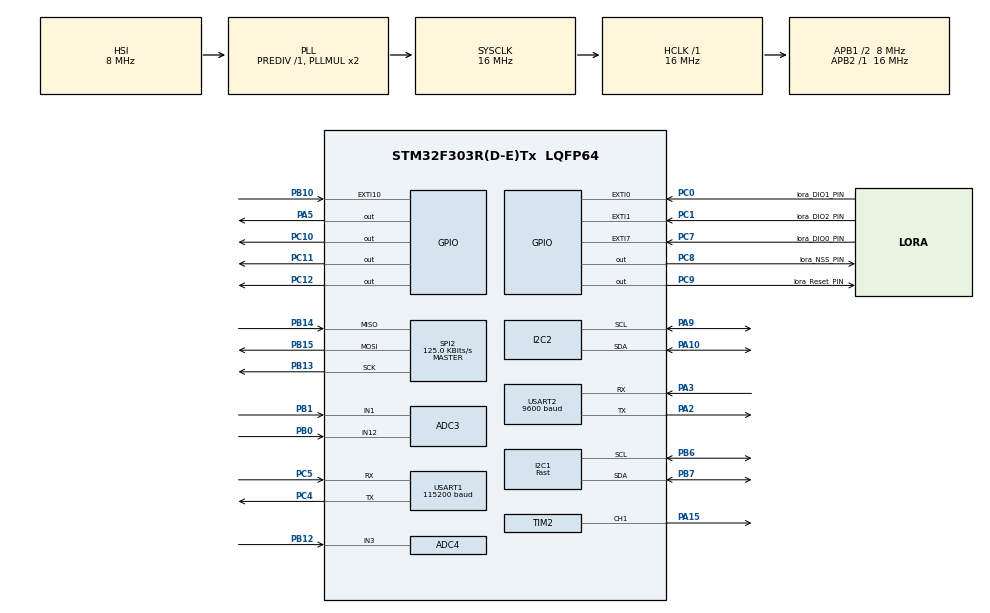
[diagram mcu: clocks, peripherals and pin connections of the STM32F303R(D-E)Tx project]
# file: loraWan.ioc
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ADC3.Channel-0\#ChannelRegularConversion=ADC_CHANNEL_12
ADC3.Channel-1\#ChannelRegularConversion=ADC_CHANNEL_1
ADC3.NbrOfConversion=2
ADC3.NbrOfConversionFlag=1
ADC3.Offset-0\#ChannelRegularConversion=0
ADC3.Offset-1\#ChannelRegularConversion=0
ADC3.OffsetNumber-0\#ChannelRegularConversion=ADC_OFFSET_NONE
ADC3.OffsetNumber-1\#ChannelRegularConversion=ADC_OFFSET_NONE
ADC3.Rank-0\#ChannelRegularConversion=1
ADC3.Rank-1\#ChannelRegularConversion=2
ADC3.SamplingTime-0\#ChannelRegularConversion=ADC_SAMPLETIME_61CYCLES_5
ADC3.SamplingTime-1\#ChannelRegularConversion=ADC_SAMPLETIME_61CYCLES_5
ADC3.SamplingTimeOPAMP-1\#ChannelRegularConversion=ADC_SAMPLETIME_7CYCLES_5
ADC3.master=1
ADC4.Channel-1\#ChannelRegularConversion=ADC_CHANNEL_3
ADC4.NbrOfConversionFlag=1
ADC4.Offset-1\#ChannelRegularConversion=0
ADC4.OffsetNumber-1\#ChannelRegularConversion=ADC_OFFSET_NONE
ADC4.Rank-1\#ChannelRegularConversion=1
ADC4.SamplingTime-1\#ChannelRegularConversion=ADC_SAMPLETIME_601CYCLES_5
ADC4.SamplingTimeOPAMP-1\#ChannelRegularConversion=ADC_SAMPLETIME_7CYCLES_5
Dma.ADC3.0.Direction=DMA_PERIPH_TO_MEMORY
Dma.ADC3.0.Instance=DMA2_Channel5
Dma.ADC3.0.MemDataAlignment=DMA_MDATAALIGN_HALFWORD
Dma.ADC3.0.MemInc=DMA_MINC_ENABLE
Dma.ADC3.0.Mode=DMA_NORMAL
Dma.ADC3.0.PeriphDataAlignment=DMA_PDATAALIGN_HALFWORD
Dma.ADC3.0.PeriphInc=DMA_PINC_DISABLE
Dma.ADC3.0.Priority=DMA_PRIORITY_LOW
Dma.Request0=ADC3
I2C1.I2C_Speed_Mode=I2C_Fast
I2C1.Timing=0x0010020A
I2C2.Timing=0x00201D2B
Mcu.Family=STM32F3
Mcu.Name=STM32F303R(D-E)Tx
Mcu.Package=LQFP64
NVIC.DMA2_Channel5_IRQn=true\:0\:0\:false\:false\:true\:false\:true\:true
NVIC.EXTI0_IRQn=true\:0\:0\:false\:false\:true\:true\:true\:true
NVIC.EXTI15_10_IRQn=true\:0\:2\:false\:false\:true\:true\:true\:true
NVIC.EXTI1_IRQn=true\:0\:0\:false\:false\:true\:true\:true\:true
NVIC.EXTI9_5_IRQn=true\:0\:0\:false\:false\:true\:true\:true\:true
NVIC.PriorityGroup=NVIC_PRIORITYGROUP_0
NVIC.TIM4_IRQn=true\:0\:0\:false\:false\:true\:true\:true\:true
NVIC.TIM7_IRQn=true\:0\:0\:false\:false\:true\:true\:true\:true
NVIC.USART1_IRQn=true\:0\:0\:false\:false\:true\:true\:true\:true
PA10.Mode=I2C
PA10.Signal=I2C2_SDA
PA13.Mode=Serial_Wire
PA13.Signal=SYS_JTMS-SWDIO
PA14.Mode=Serial_Wire
PA14.Signal=SYS_JTCK-SWCLK
PA15.Signal=S_TIM2_CH1_ETR
PA2.Mode=Asynchronous
PA2.Signal=USART2_TX
PA3.Mode=Asynchronous
PA3.Signal=USART2_RX
PA5.Signal=GPIO_Output
PA9.Mode=I2C
PA9.Signal=I2C2_SCL
PB0.Mode=IN12-Single-Ended
PB0.Signal=ADC3_IN12
PB1.Mode=IN1-Single-Ended
PB1.Signal=ADC3_IN1
PB10.GPIO_ModeDefaultEXTI=GPIO_MODE_IT_FALLING
PB10.GPIO_PuPd=GPIO_PULLUP
PB10.Signal=GPXTI10
PB12.Mode=IN3-Single-Ended
PB12.Signal=ADC4_IN3
PB13.Mode=Full_Duplex_Master
PB13.Signal=SPI2_SCK
PB14.Mode=Full_Duplex_Master
PB14.Signal=SPI2_MISO
PB15.Mode=Full_Duplex_Master
PB15.Signal=SPI2_MOSI
PB6.Mode=I2C
PB6.Signal=I2C1_SCL
PB7.Mode=I2C
PB7.Signal=I2C1_SDA
PC0.GPIO_Label=lora_DIO1_PIN
PC0.Signal=GPXTI0
PC1.GPIO_Label=lora_DIO2_PIN
PC1.Signal=GPXTI1
PC10.Signal=GPIO_Output
PC11.Signal=GPIO_Output
PC12.Signal=GPIO_Output
PC14-OSC32_IN.Mode=LSE-External-Oscillator
PC14-OSC32_IN.Signal=RCC_OSC32_IN
PC15-OSC32_OUT.Mode=LSE-External-Oscillator
PC15-OSC32_OUT.Signal=RCC_OSC32_OUT
PC4.Mode=Asynchronous
PC4.Signal=USART1_TX
PC5.Mode=Asynchronous
PC5.Signal=USART1_RX
PC7.GPIO_Label=lora_DIO0_PIN
PC7.Signal=GPXTI7
PC8.GPIO_Label=lora_NSS_PIN
PC8.Signal=GPIO_Output
PC9.GPIO_Label=lora_Reset_PIN
PC9.Signal=GPIO_Output
PF0-OSC_IN.Mode=HSE-External-Oscillator
PF0-OSC_IN.Signal=RCC_OSC_IN
PF1-OSC_OUT.Mode=HSE-External-Oscillator
PF1-OSC_OUT.Signal=RCC_OSC_OUT
ProjectManager.HeapSize=0x200
ProjectManager.StackSize=0x400
ProjectManager.TargetToolchain=STM32CubeIDE
RCC.AHBFreq_Value=16000000
RCC.APB1CLKDivider=RCC_HCLK_DIV2
RCC.APB1Freq_Value=8000000
RCC.APB1TimFreq_Value=16000000
RCC.APB2Freq_Value=16000000
RCC.APB2TimFreq_Value=16000000
RCC.CortexFreq_Value=16000000
RCC.HCLKFreq_Value=16000000
RCC.HSE_VALUE=8000000
RCC.HSI_VALUE=8000000
RCC.PLLM=8
RCC.PLLN=336
RCC.PLLP=RCC_PLLP_DIV4
RCC.PLLQ=7
RCC.RCC_PLLsource_Clock_Source_FROM_HSE=RCC_HSE_PREDIV_DIV2
RCC.SYSCLKFreq_VALUE=16000000
RCC.SYSCLKSourceVirtual=RCC_SYSCLKSOURCE_PLLCLK
RCC.USBFreq_Value=16000000
SH.S_TIM2_CH1_ETR.0=TIM2_CH1,PWM Generation1 CH1
SPI2.BaudRatePrescaler=SPI_BAUDRATEPRESCALER_64
SPI2.CalculateBaudRate=125.0 KBits/s
SPI2.DataSize=SPI_DATASIZE_8BIT
SPI2.Direction=SPI_DIRECTION_2LINES
SPI2.Mode=SPI_MODE_MASTER
SPI2.VirtualType=VM_MASTER
TIM2.Channel-PWM\ Generation1\ CH1=TIM_CHANNEL_1
TIM2.Period=1999
TIM2.Prescaler=15
TIM4.Channel-Output\ Compare1\ No\ Output=TIM_CHANNEL_1
TIM4.Period=65535-1
TIM4.Prescaler=500-1
TIM7.Period=65535-1
TIM7.Prescaler=1221-1
USART1.BaudRate=115200
USART1.Mode=MODE_RX
USART1.VirtualMode-Asynchronous=VM_ASYNC
USART2.BaudRate=9600
USART2.Mode=MODE_TX
USART2.VirtualMode-Asynchronous=VM_ASYNC
VP_TIM2_VS_ClockSourceINT.Mode=Internal
VP_TIM4_VS_no_output1.Mode=Output Compare1 No Output
VP_TIM7_VS_ClockSourceINT.Mode=Enable_Timer
board=NUCLEO-F303RE

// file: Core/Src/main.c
/* USER CODE BEGIN Header */
/**
  ******************************************************************************
  * @file           : main.c
  * @brief          : Main program body
  ******************************************************************************
  * @attention
  *
  * Copyright (c) 2024 STMicroelectronics.
  * All rights reserved.
  *
  * This software is licensed under terms that can be found in the LICENSE file
  * in the root directory of this software component.
  * If no LICENSE file comes with this software, it is provided AS-IS.
  *
  ******************************************************************************
  */
/* USER CODE END Header */
#include "main.h"

/* USER CODE BEGIN Includes */
#include <stdio.h>
#include <math.h>
#include <string.h>
#include <stdbool.h>
#include <ctype.h>
#include "../../lmic/lmic.h"
#include "../../stm32/debug.h"
#include "ssd1306.h"
#include "ssd1306_fonts.h"
#include "DHT.h"
#include "bh1750.h"
#include "UartRingbuffer.h"

/* USER CODE END Includes */

/* USER CODE BEGIN PD */
#define SSD1306_INCLUDE_FONT_7x10

#define TX_INTERVAL 15
#define CFG_VN 1
//#define TX_INTERVAL 180
//#define TX_TIMEOUT 200
/* USER CODE END PD */

ADC_HandleTypeDef hadc3;
ADC_HandleTypeDef hadc4;
DMA_HandleTypeDef hdma_adc3;

I2C_HandleTypeDef hi2c1;
I2C_HandleTypeDef hi2c2;

SPI_HandleTypeDef hspi2;

TIM_HandleTypeDef htim2;
TIM_HandleTypeDef htim4;
TIM_HandleTypeDef htim7;

UART_HandleTypeDef huart1;
UART_HandleTypeDef huart2;

/* USER CODE BEGIN PV */
static const uint8_t APPEUI[8]  = {};
static const uint8_t DEVKEY[16] = {};
static const uint8_t DEVEUI[8]  ={};
static const uint8_t NWKSKEY[16] = {0x6C, 0x0A, 0xAC, 0xF1, 0x38, 0xDF, 0xF5, 0xED, 0x6C, 0xD2, 0xEE, 0x5A, 0x91, 0x5D, 0x9D, 0xCC};
static const uint8_t APPSKEY[16] = {0x9F, 0x2A, 0xB7, 0x29, 0x38, 0x73, 0x8A, 0x1E, 0x9F, 0xA9, 0x63, 0x4A, 0xCE, 0x01, 0xCB, 0x66};
static const uint32_t DEVADDR = 0x00c5a589;

/* USER CODE END PV */

void SystemClock_Config(void);
static void MX_GPIO_Init(void);
static void MX_DMA_Init(void);
static void MX_SPI2_Init(void);
static void MX_TIM4_Init(void);
static void MX_TIM7_Init(void);
static void MX_I2C1_Init(void);
static void MX_USART2_UART_Init(void);
static void MX_I2C2_Init(void);
static void MX_TIM2_Init(void);
static void MX_USART1_UART_Init(void);
static void MX_ADC3_Init(void);
static void MX_ADC4_Init(void);

/* USER CODE BEGIN 0 */

	// UART communication
char rx_buff[35];
//char rx_buff[] ="Pham_Tien_Dat_21ES";
uint8_t disease[132];
uint8_t temp[2];
int indx = 0;

	//ssd1306 buffer
char buffer6[20];
char buffer5[15];
char buffer4[20];
char buffer3[15];
char buffer2[15];
char buffer1[15];

DHT_DataTypedef DHT22_Data;
float Temperature,Humidity;
int speed;
float value_lux = 0;
float battery_level;
uint8_t counterButton =0;
volatile uint16_t adcDMA[2]; // adcDMA[0] - rain / adcDMA[1] - soil
const int adcCount =sizeof(adcDMA)/sizeof(adcDMA[0]);
volatile int adcFlag = 0;
bool autoFlag = false;
bool curCanopyState = false, prevCanopyState = false;
/*
 AirValue 3.3V: 2800
			  5V: 4095
 WaterValue 3.3V: 1308
			    5V: 2428
*/

const uint16_t AirValue = 2800;
const uint16_t WaterValue = 1308;
float intervals = (AirValue - WaterValue)/3;

char messCopy[30]; // debug purpose
uint8_t mydata[41];

void HAL_ADC_ConvCpltCallback(ADC_HandleTypeDef *hadc){
	adcFlag = 1;
}

void readBattery(void){
	HAL_ADC_Start(&hadc4);
	HAL_ADC_PollForConversion(&hadc4, 100);
	battery_level = ((HAL_ADC_GetValue(&hadc4)*3.3/4095*4.28)-8.25)/(12.6-8.25) * 100;
	HAL_ADC_Stop(&hadc4);
}
void Read_DataDHT(void){
 	DHT_GetData(&DHT22_Data);
 	Humidity = DHT22_Data.Humidity/10.0;
 	Temperature = DHT22_Data.Temperature/10.0;
}

void readSensor(){
	Read_DataDHT();
	HAL_ADC_Start_DMA(&hadc3,(uint32_t*)adcDMA,adcCount);
	while(adcFlag==0);
	adcFlag = 0;
	readBattery();
	BH1750_Start();
	value_lux=BH1750_Read();
}

void canopyControl(bool state){
	curCanopyState = state;
	if(state){ //Forward
		HAL_GPIO_WritePin(GPIOC, GPIO_PIN_11, 1);
		HAL_GPIO_WritePin(GPIOC, GPIO_PIN_10, 0);
		__HAL_TIM_SET_COMPARE(&htim2,TIM_CHANNEL_1, 1000);
		HAL_Delay(5000);
		__HAL_TIM_SET_COMPARE(&htim2,TIM_CHANNEL_1, 0);
	}else{ // Backward
		HAL_GPIO_WritePin(GPIOC, GPIO_PIN_11, 0);
		HAL_GPIO_WritePin(GPIOC, GPIO_PIN_10, 1);
		__HAL_TIM_SET_COMPARE(&htim2,TIM_CHANNEL_1, 1000);
		HAL_Delay(5000);
		__HAL_TIM_SET_COMPARE(&htim2,TIM_CHANNEL_1, 0);
	}
}
void autoOP(){
	if(autoFlag){
		if(adcDMA[0] < 2500) //rain
			curCanopyState = true;
		else
			curCanopyState = false;

		if (prevCanopyState != curCanopyState) {
		    canopyControl(!curCanopyState);
		    prevCanopyState = !curCanopyState;
		}
		while(mydata[6] < 75){ // pump
			HAL_GPIO_WritePin(GPIOC,GPIO_PIN_12, 1);
		}
		HAL_GPIO_WritePin(GPIOC,GPIO_PIN_12, 0);
	}

}

void generateData(void){
	readSensor();
	mydata[0] = Humidity;
	mydata[1] = (uint8_t)((Humidity - mydata[0]) * 100);
	mydata[2] = Temperature;
	mydata[3] = (uint8_t)((Temperature - mydata[2]) * 100);
	mydata[4] = value_lux;
	mydata[5] = value_lux/255;
	mydata[6] = 100.0 - ((adcDMA[1] - WaterValue) / (float)(AirValue - WaterValue) * 100.0);
	mydata[7] =(adcDMA[0]<2056)?1:0;
	mydata[8] = battery_level;
	strcpy((char*)&mydata[9], rx_buff);
}

void updateScreen(void){
	// handle interput from button in hal.c by HAL_GPIO_EXTI_Callback
	if(counterButton%2==0){
		ssd1306_Fill(Black);
		sprintf(buffer1, "Temp: %0.2f'C", Temperature);
		sprintf(buffer2, "Humd: %0.2f%%", Humidity);
		sprintf(buffer3, "Lux: %0.2f", value_lux);
		sprintf(buffer4, "SoilM: %d%%", mydata[6]);
		if (adcDMA[0]<2056)
			sprintf(buffer5, "RainD: Raining");
		else
			sprintf(buffer5, "RainD: No Rain");

		sprintf(buffer6, "Battlevel: %0.2f%%", battery_level);
		ssd1306_SetCursor(2,0);
		ssd1306_WriteString(buffer1, Font_7x10, White);
		ssd1306_SetCursor(2,12);
		ssd1306_WriteString(buffer2, Font_7x10, White);
		ssd1306_SetCursor(2,24);
		ssd1306_WriteString(buffer3, Font_7x10, White);
		ssd1306_SetCursor(2,37);
		ssd1306_WriteString(buffer4, Font_7x10, White);
		ssd1306_SetCursor(2,49);
		ssd1306_WriteString(buffer5, Font_7x10, White);
		ssd1306_UpdateScreen();
	}else{
		 char part1[20] = {0};
		 char part2[20] = {0};
		 char *colon_pos = strchr(rx_buff, ':');
		 if (colon_pos != NULL) {
		    int index = colon_pos - rx_buff;
		    	// Copy first part before ':'
		    strncpy(part1, rx_buff, index);
		    part1[index] = '\0';
		    // Copy the second part after ':'
		    strcpy(part2, colon_pos + 1);
		 }
		ssd1306_Fill(Black);
		ssd1306_SetCursor(2,0);
		ssd1306_WriteString(part1,Font_7x10, White);
		ssd1306_SetCursor(36,12);
		ssd1306_WriteString(part2,Font_7x10, White);
		ssd1306_SetCursor(2,36);
		ssd1306_WriteString(buffer6, Font_7x10, White);
		ssd1306_UpdateScreen();
	}
}

/*---------------------------------------------------------------------*/

void os_getArtEui (uint8_t* buf) {
    memcpy(buf, APPEUI, 8);
}

// provide device ID (8 bytes, LSBF)
void os_getDevEui (uint8_t* buf) {
    memcpy(buf, DEVEUI, 8);
}

// provide device key (16 bytes)
void os_getDevKey (uint8_t* buf) {
    memcpy(buf, DEVKEY, 16);
}

//static uint8_t data[];
static osjob_t sendjob;

void do_send(osjob_t* j){
	if (!(LMIC.opmode & OP_TXRXPEND)) {
		if(Wait_for("The detected:")){
			if(Get_after("The detected: ", 35, rx_buff))
				Uart_flush();
		}
		//autoOP();
		generateData();
		updateScreen();
		LMIC_setTxData2(1, mydata, sizeof(mydata), 0);
		debug_str("\nPacket queued \n");
	}
}

void onEvent (ev_t ev) {
    debug_event(ev);
    debug_str("\n");
    switch(ev) {
        case EV_SCAN_TIMEOUT:
            debug_str("EV_SCAN_TIMEOUT\n");
            break;
        case EV_BEACON_FOUND:
            debug_str("EV_BEACON_FOUND\n");
            break;
        case EV_BEACON_MISSED:
            debug_str("EV_BEACON_MISSED\n");
            break;
        case EV_BEACON_TRACKED:
            debug_str("EV_BEACON_TRACKED\n");
            break;
        case EV_JOINING:
            debug_str("EV_JOINING\n");
            break;
        case EV_JOINED:
            debug_str("EV_JOINED\n");
            break;
        case EV_RFU1:
            debug_str("EV_RFU1\n");
            break;
        case EV_JOIN_FAILED:
            debug_str("EV_JOIN_FAILED\n");
            break;
        case EV_REJOIN_FAILED:
            debug_str("EV_REJOIN_FAILED\n");
            os_setTimedCallback(&sendjob, os_getTime()+sec2osticks(TX_INTERVAL), do_send);
            break;
        case EV_TXCOMPLETE:
            debug_str("EV_TXCOMPLETE (includes waiting for RX windows)\n");
            if (LMIC.txrxFlags & TXRX_ACK)
              debug_str("Received ack\n");
            if (LMIC.dataLen) {
              debug_str("Received ");
              debug_int(LMIC.dataLen);
              debug_str(" bytes of payload\n");

              char message[LMIC.dataLen + 1];
              memset(message, 0, sizeof(message));

              debug_str("\nDownlink message: ");
              for(int i = 0; i < LMIC.dataLen; i++){
            	  if (LMIC.frame[LMIC.dataBeg + i] < 0x10){
            		  printf("0");
            	  }
            	  printf("%02X",LMIC.frame[LMIC.dataBeg + i]);
            	  message[i] = tolower((char)LMIC.frame[LMIC.dataBeg + i]);
            	  printf("%c",message[i]);
              }
              debug_str("\n");
              message[LMIC.dataLen] = '\0';
              memcpy(messCopy, message, LMIC.dataLen); //debug purpose only
              debug_str("\n");
              if (strstr(message, "turn on light") != NULL) {
            	  HAL_GPIO_WritePin(GPIOA,GPIO_PIN_5, 1);
              } else if (strstr(message, "turn off light") != NULL) {
            	  HAL_GPIO_WritePin(GPIOA,GPIO_PIN_5, 0);
              }else if (strstr(message, "turn off pump") != NULL) {
            	  HAL_GPIO_WritePin(GPIOC,GPIO_PIN_12, 0);
              }else if (strstr(message, "turn on pump") != NULL) {
            	  HAL_GPIO_WritePin(GPIOC,GPIO_PIN_12, 1);
              }else if (strstr(message, "canopy forward") != NULL) {
            	  canopyControl(true);
              }else if (strstr(message, "canopy backward") != NULL) {
            	  canopyControl(false);
              }else if (strstr(message,"autonomous") != NULL){
            	  autoFlag = true;
              }else if (strstr(message,"manual") != NULL){
                  autoFlag = false;
              }else {
                  debug_str("Message did not match.\n");
              }
            }
            // Schedule next transmission
            os_setTimedCallback(&sendjob, os_getTime()+sec2osticks(TX_INTERVAL-3), do_send);
            break;
        case EV_LOST_TSYNC:
            debug_str("EV_LOST_TSYNC\n");
            break;
        case EV_RESET:
            debug_str("EV_RESET\n");
            break;
        case EV_RXCOMPLETE:
            // data received in ping slot
            debug_str("EV_RXCOMPLETE\n");
            break;
        case EV_LINK_DEAD:
            debug_str("EV_LINK_DEAD\n");
            break;
        case EV_LINK_ALIVE:
            debug_str("EV_LINK_ALIVE\n");
            break;
         default:
            debug_str("Unknown event\n");
            break;
    }
}

void initfunc(osjob_t* j)
{
	   // Reset the MAC state. Session and pending data transfers will be discarded.
	   LMIC_reset();
	   //LMIC_startJoining();

	    uint8_t appskey[sizeof(APPSKEY)];
	    uint8_t nwkskey[sizeof(NWKSKEY)];
	    memcpy(appskey, APPSKEY, sizeof(APPSKEY));
	    memcpy(nwkskey, NWKSKEY, sizeof(NWKSKEY));
	    LMIC_setSession (0x1, DEVADDR, nwkskey, appskey);

	  #if defined(CFG_VN)
	    LMIC_setupChannel(0, 921400000, DR_RANGE_MAP(DR_SF12, DR_SF7),  BAND_CENTI);      // g-band
	    LMIC_setupChannel(1, 921600000, DR_RANGE_MAP(DR_SF12, DR_SF7B), BAND_CENTI);      // g-band
	    LMIC_setupChannel(2, 921800000, DR_RANGE_MAP(DR_SF12, DR_SF7),  BAND_CENTI);      // g-band
	    LMIC_setupChannel(3, 922000000, DR_RANGE_MAP(DR_SF12, DR_SF7),  BAND_CENTI);      // g-band
	    LMIC_setupChannel(4, 922200000, DR_RANGE_MAP(DR_SF12, DR_SF7),  BAND_CENTI);      // g-band
	    LMIC_setupChannel(5, 922400000, DR_RANGE_MAP(DR_SF12, DR_SF7),  BAND_CENTI);      // g-band
	    LMIC_setupChannel(6, 922600000, DR_RANGE_MAP(DR_SF12, DR_SF7),  BAND_CENTI);      // g-band
	    LMIC_setupChannel(7, 922800000, DR_RANGE_MAP(DR_SF12, DR_SF7),  BAND_CENTI);      // g-band
	    LMIC_setupChannel(8, 922700000, DR_RANGE_MAP(DR_FSK,  DR_FSK),  BAND_MILLI);      // g2-band
	   #elif defined(CFG_us915)

	   LMIC_selectSubBand(1);

	  #endif

	   // Disable link check validation
	   LMIC_setLinkCheckMode(0);
	   LMIC_setClockError(MAX_CLOCK_ERROR * 2 / 100);

	   LMIC.dn2Dr = DR_SF10;
	   LMIC.dn2Freq=923200000;
	   LMIC_setDrTxpow(DR_SF10,16);
	   //LMIC_setAdrMode(true);
	   os_setTimedCallback(&sendjob, os_getTime(), do_send);

}
/* USER CODE END 0 */

int main(void)
{

  /* MCU Configuration--------------------------------------------------------*/

  /* Reset of all peripherals, Initializes the Flash interface and the Systick. */
  HAL_Init();

  /* Configure the system clock */
  SystemClock_Config();

  /* Initialize all configured peripherals */
  MX_GPIO_Init();
  MX_DMA_Init();
  MX_SPI2_Init();
  MX_TIM4_Init();
  MX_TIM7_Init();
  MX_I2C1_Init();
  MX_USART2_UART_Init();
  MX_I2C2_Init();
  MX_TIM2_Init();
  MX_USART1_UART_Init();
  MX_ADC3_Init();
  MX_ADC4_Init();
  /* USER CODE BEGIN 2 */
  HAL_TIM_Base_Start_IT(&htim4);
  HAL_TIM_Base_Start_IT(&htim7);
  HAL_TIM_PWM_Start(&htim2, TIM_CHANNEL_1);
  __HAL_SPI_ENABLE(&hspi2);
  //ssd1306_Init();
  //BH1750_Init();
  HAL_GPIO_WritePin(GPIOC, GPIO_PIN_10, 0);
  HAL_GPIO_WritePin(GPIOC, GPIO_PIN_11, 0);
  canopyControl(false);
  HAL_ADC_Stop(&hadc4);
  HAL_Delay(50);
  HAL_ADC_Stop(&hadc3);
  HAL_Delay(50);
  HAL_ADCEx_Calibration_Start(&hadc4, ADC_SINGLE_ENDED);
  HAL_Delay(200);
  HAL_ADCEx_Calibration_Start(&hadc3, ADC_SINGLE_ENDED);
  HAL_Delay(200);
  Ringbuf_init ();
  osjob_t initjob;
  os_init();
  debug_init();
  os_setCallback(&initjob, initfunc);
  os_runloop();
  /* USER CODE END 2 */

  /* Infinite loop */
  while (1)
  {

  }
}

void SystemClock_Config(void)
{
  RCC_OscInitTypeDef RCC_OscInitStruct = {0};
  RCC_ClkInitTypeDef RCC_ClkInitStruct = {0};
  RCC_PeriphCLKInitTypeDef PeriphClkInit = {0};

  /** Initializes the RCC Oscillators according to the specified parameters
  * in the RCC_OscInitTypeDef structure.
  */
  RCC_OscInitStruct.OscillatorType = RCC_OSCILLATORTYPE_HSI;
  RCC_OscInitStruct.HSIState = RCC_HSI_ON;
  RCC_OscInitStruct.HSICalibrationValue = RCC_HSICALIBRATION_DEFAULT;
  RCC_OscInitStruct.PLL.PLLState = RCC_PLL_ON;
  RCC_OscInitStruct.PLL.PLLSource = RCC_PLLSOURCE_HSI;
  RCC_OscInitStruct.PLL.PLLMUL = RCC_PLL_MUL2;
  RCC_OscInitStruct.PLL.PREDIV = RCC_PREDIV_DIV1;
  if (HAL_RCC_OscConfig(&RCC_OscInitStruct) != HAL_OK)
  {
    Error_Handler();
  }

  /** Initializes the CPU, AHB and APB buses clocks
  */
  RCC_ClkInitStruct.ClockType = RCC_CLOCKTYPE_HCLK|RCC_CLOCKTYPE_SYSCLK
                              |RCC_CLOCKTYPE_PCLK1|RCC_CLOCKTYPE_PCLK2;
  RCC_ClkInitStruct.SYSCLKSource = RCC_SYSCLKSOURCE_PLLCLK;
  RCC_ClkInitStruct.AHBCLKDivider = RCC_SYSCLK_DIV1;
  RCC_ClkInitStruct.APB1CLKDivider = RCC_HCLK_DIV2;
  RCC_ClkInitStruct.APB2CLKDivider = RCC_HCLK_DIV1;

  if (HAL_RCC_ClockConfig(&RCC_ClkInitStruct, FLASH_LATENCY_0) != HAL_OK)
  {
    Error_Handler();
  }
  PeriphClkInit.PeriphClockSelection = RCC_PERIPHCLK_USART1|RCC_PERIPHCLK_USART2
                              |RCC_PERIPHCLK_I2C1|RCC_PERIPHCLK_I2C2
                              |RCC_PERIPHCLK_ADC34|RCC_PERIPHCLK_TIM2
                              |RCC_PERIPHCLK_TIM34;
  PeriphClkInit.Usart1ClockSelection = RCC_USART1CLKSOURCE_PCLK2;
  PeriphClkInit.Usart2ClockSelection = RCC_USART2CLKSOURCE_PCLK1;
  PeriphClkInit.Adc34ClockSelection = RCC_ADC34PLLCLK_DIV1;
  PeriphClkInit.I2c1ClockSelection = RCC_I2C1CLKSOURCE_HSI;
  PeriphClkInit.I2c2ClockSelection = RCC_I2C2CLKSOURCE_HSI;
  PeriphClkInit.Tim2ClockSelection = RCC_TIM2CLK_HCLK;
  PeriphClkInit.Tim34ClockSelection = RCC_TIM34CLK_HCLK;
  if (HAL_RCCEx_PeriphCLKConfig(&PeriphClkInit) != HAL_OK)
  {
    Error_Handler();
  }
}

static void MX_ADC3_Init(void)
{

  ADC_MultiModeTypeDef multimode = {0};
  ADC_ChannelConfTypeDef sConfig = {0};

  /** Common config
  */
  hadc3.Instance = ADC3;
  hadc3.Init.ClockPrescaler = ADC_CLOCK_ASYNC_DIV1;
  hadc3.Init.Resolution = ADC_RESOLUTION_12B;
  hadc3.Init.ScanConvMode = ADC_SCAN_ENABLE;
  hadc3.Init.ContinuousConvMode = DISABLE;
  hadc3.Init.DiscontinuousConvMode = DISABLE;
  hadc3.Init.ExternalTrigConvEdge = ADC_EXTERNALTRIGCONVEDGE_NONE;
  hadc3.Init.ExternalTrigConv = ADC_SOFTWARE_START;
  hadc3.Init.DataAlign = ADC_DATAALIGN_RIGHT;
  hadc3.Init.NbrOfConversion = 2;
  hadc3.Init.DMAContinuousRequests = DISABLE;
  hadc3.Init.EOCSelection = ADC_EOC_SINGLE_CONV;
  hadc3.Init.LowPowerAutoWait = DISABLE;
  hadc3.Init.Overrun = ADC_OVR_DATA_OVERWRITTEN;
  if (HAL_ADC_Init(&hadc3) != HAL_OK)
  {
    Error_Handler();
  }

  /** Configure the ADC multi-mode
  */
  multimode.Mode = ADC_MODE_INDEPENDENT;
  if (HAL_ADCEx_MultiModeConfigChannel(&hadc3, &multimode) != HAL_OK)
  {
    Error_Handler();
  }

  /** Configure Regular Channel
  */
  sConfig.Channel = ADC_CHANNEL_12;
  sConfig.Rank = ADC_REGULAR_RANK_1;
  sConfig.SingleDiff = ADC_SINGLE_ENDED;
  sConfig.SamplingTime = ADC_SAMPLETIME_61CYCLES_5;
  sConfig.OffsetNumber = ADC_OFFSET_NONE;
  sConfig.Offset = 0;
  if (HAL_ADC_ConfigChannel(&hadc3, &sConfig) != HAL_OK)
  {
    Error_Handler();
  }

  /** Configure Regular Channel
  */
  sConfig.Channel = ADC_CHANNEL_1;
  sConfig.Rank = ADC_REGULAR_RANK_2;
  if (HAL_ADC_ConfigChannel(&hadc3, &sConfig) != HAL_OK)
  {
    Error_Handler();
  }

}

static void MX_ADC4_Init(void)
{

  ADC_ChannelConfTypeDef sConfig = {0};

  /** Common config
  */
  hadc4.Instance = ADC4;
  hadc4.Init.ClockPrescaler = ADC_CLOCK_ASYNC_DIV1;
  hadc4.Init.Resolution = ADC_RESOLUTION_12B;
  hadc4.Init.ScanConvMode = ADC_SCAN_DISABLE;
  hadc4.Init.ContinuousConvMode = DISABLE;
  hadc4.Init.DiscontinuousConvMode = DISABLE;
  hadc4.Init.ExternalTrigConvEdge = ADC_EXTERNALTRIGCONVEDGE_NONE;
  hadc4.Init.ExternalTrigConv = ADC_SOFTWARE_START;
  hadc4.Init.DataAlign = ADC_DATAALIGN_RIGHT;
  hadc4.Init.NbrOfConversion = 1;
  hadc4.Init.DMAContinuousRequests = DISABLE;
  hadc4.Init.EOCSelection = ADC_EOC_SINGLE_CONV;
  hadc4.Init.LowPowerAutoWait = DISABLE;
  hadc4.Init.Overrun = ADC_OVR_DATA_OVERWRITTEN;
  if (HAL_ADC_Init(&hadc4) != HAL_OK)
  {
    Error_Handler();
  }

  /** Configure Regular Channel
  */
  sConfig.Channel = ADC_CHANNEL_3;
  sConfig.Rank = ADC_REGULAR_RANK_1;
  sConfig.SingleDiff = ADC_SINGLE_ENDED;
  sConfig.SamplingTime = ADC_SAMPLETIME_601CYCLES_5;
  sConfig.OffsetNumber = ADC_OFFSET_NONE;
  sConfig.Offset = 0;
  if (HAL_ADC_ConfigChannel(&hadc4, &sConfig) != HAL_OK)
  {
    Error_Handler();
  }

}

static void MX_I2C1_Init(void)
{

  hi2c1.Instance = I2C1;
  hi2c1.Init.Timing = 0x0010020A;
  hi2c1.Init.OwnAddress1 = 0;
  hi2c1.Init.AddressingMode = I2C_ADDRESSINGMODE_7BIT;
  hi2c1.Init.DualAddressMode = I2C_DUALADDRESS_DISABLE;
  hi2c1.Init.OwnAddress2 = 0;
  hi2c1.Init.OwnAddress2Masks = I2C_OA2_NOMASK;
  hi2c1.Init.GeneralCallMode = I2C_GENERALCALL_DISABLE;
  hi2c1.Init.NoStretchMode = I2C_NOSTRETCH_DISABLE;
  if (HAL_I2C_Init(&hi2c1) != HAL_OK)
  {
    Error_Handler();
  }

  /** Configure Analogue filter
  */
  if (HAL_I2CEx_ConfigAnalogFilter(&hi2c1, I2C_ANALOGFILTER_ENABLE) != HAL_OK)
  {
    Error_Handler();
  }

  /** Configure Digital filter
  */
  if (HAL_I2CEx_ConfigDigitalFilter(&hi2c1, 0) != HAL_OK)
  {
    Error_Handler();
  }

}

static void MX_I2C2_Init(void)
{

  hi2c2.Instance = I2C2;
  hi2c2.Init.Timing = 0x00201D2B;
  hi2c2.Init.OwnAddress1 = 0;
  hi2c2.Init.AddressingMode = I2C_ADDRESSINGMODE_7BIT;
  hi2c2.Init.DualAddressMode = I2C_DUALADDRESS_DISABLE;
  hi2c2.Init.OwnAddress2 = 0;
  hi2c2.Init.OwnAddress2Masks = I2C_OA2_NOMASK;
  hi2c2.Init.GeneralCallMode = I2C_GENERALCALL_DISABLE;
  hi2c2.Init.NoStretchMode = I2C_NOSTRETCH_DISABLE;
  if (HAL_I2C_Init(&hi2c2) != HAL_OK)
  {
    Error_Handler();
  }

  /** Configure Analogue filter
  */
  if (HAL_I2CEx_ConfigAnalogFilter(&hi2c2, I2C_ANALOGFILTER_ENABLE) != HAL_OK)
  {
    Error_Handler();
  }

  /** Configure Digital filter
  */
  if (HAL_I2CEx_ConfigDigitalFilter(&hi2c2, 0) != HAL_OK)
  {
    Error_Handler();
  }

}

static void MX_SPI2_Init(void)
{

  /* SPI2 parameter configuration*/
  hspi2.Instance = SPI2;
  hspi2.Init.Mode = SPI_MODE_MASTER;
  hspi2.Init.Direction = SPI_DIRECTION_2LINES;
  hspi2.Init.DataSize = SPI_DATASIZE_8BIT;
  hspi2.Init.CLKPolarity = SPI_POLARITY_LOW;
  hspi2.Init.CLKPhase = SPI_PHASE_1EDGE;
  hspi2.Init.NSS = SPI_NSS_SOFT;
  hspi2.Init.BaudRatePrescaler = SPI_BAUDRATEPRESCALER_64;
  hspi2.Init.FirstBit = SPI_FIRSTBIT_MSB;
  hspi2.Init.TIMode = SPI_TIMODE_DISABLE;
  hspi2.Init.CRCCalculation = SPI_CRCCALCULATION_DISABLE;
  hspi2.Init.CRCPolynomial = 7;
  hspi2.Init.CRCLength = SPI_CRC_LENGTH_DATASIZE;
  hspi2.Init.NSSPMode = SPI_NSS_PULSE_ENABLE;
  if (HAL_SPI_Init(&hspi2) != HAL_OK)
  {
    Error_Handler();
  }

}

static void MX_TIM2_Init(void)
{

  TIM_ClockConfigTypeDef sClockSourceConfig = {0};
  TIM_MasterConfigTypeDef sMasterConfig = {0};
  TIM_OC_InitTypeDef sConfigOC = {0};

  htim2.Instance = TIM2;
  htim2.Init.Prescaler = 15;
  htim2.Init.CounterMode = TIM_COUNTERMODE_UP;
  htim2.Init.Period = 1999;
  htim2.Init.ClockDivision = TIM_CLOCKDIVISION_DIV1;
  htim2.Init.AutoReloadPreload = TIM_AUTORELOAD_PRELOAD_DISABLE;
  if (HAL_TIM_Base_Init(&htim2) != HAL_OK)
  {
    Error_Handler();
  }
  sClockSourceConfig.ClockSource = TIM_CLOCKSOURCE_INTERNAL;
  if (HAL_TIM_ConfigClockSource(&htim2, &sClockSourceConfig) != HAL_OK)
  {
    Error_Handler();
  }
  if (HAL_TIM_PWM_Init(&htim2) != HAL_OK)
  {
    Error_Handler();
  }
  sMasterConfig.MasterOutputTrigger = TIM_TRGO_RESET;
  sMasterConfig.MasterSlaveMode = TIM_MASTERSLAVEMODE_DISABLE;
  if (HAL_TIMEx_MasterConfigSynchronization(&htim2, &sMasterConfig) != HAL_OK)
  {
    Error_Handler();
  }
  sConfigOC.OCMode = TIM_OCMODE_PWM1;
  sConfigOC.Pulse = 0;
  sConfigOC.OCPolarity = TIM_OCPOLARITY_HIGH;
  sConfigOC.OCFastMode = TIM_OCFAST_DISABLE;
  if (HAL_TIM_PWM_ConfigChannel(&htim2, &sConfigOC, TIM_CHANNEL_1) != HAL_OK)
  {
    Error_Handler();
  }
  HAL_TIM_MspPostInit(&htim2);

}

static void MX_TIM4_Init(void)
{

  TIM_MasterConfigTypeDef sMasterConfig = {0};
  TIM_OC_InitTypeDef sConfigOC = {0};

  htim4.Instance = TIM4;
  htim4.Init.Prescaler = 500-1;
  htim4.Init.CounterMode = TIM_COUNTERMODE_UP;
  htim4.Init.Period = 65535-1;
  htim4.Init.ClockDivision = TIM_CLOCKDIVISION_DIV1;
  htim4.Init.AutoReloadPreload = TIM_AUTORELOAD_PRELOAD_DISABLE;
  if (HAL_TIM_OC_Init(&htim4) != HAL_OK)
  {
    Error_Handler();
  }
  sMasterConfig.MasterOutputTrigger = TIM_TRGO_RESET;
  sMasterConfig.MasterSlaveMode = TIM_MASTERSLAVEMODE_DISABLE;
  if (HAL_TIMEx_MasterConfigSynchronization(&htim4, &sMasterConfig) != HAL_OK)
  {
    Error_Handler();
  }
  sConfigOC.OCMode = TIM_OCMODE_TIMING;
  sConfigOC.Pulse = 0;
  sConfigOC.OCPolarity = TIM_OCPOLARITY_HIGH;
  sConfigOC.OCFastMode = TIM_OCFAST_DISABLE;
  if (HAL_TIM_OC_ConfigChannel(&htim4, &sConfigOC, TIM_CHANNEL_1) != HAL_OK)
  {
    Error_Handler();
  }

}

static void MX_TIM7_Init(void)
{

  TIM_MasterConfigTypeDef sMasterConfig = {0};

  htim7.Instance = TIM7;
  htim7.Init.Prescaler = 1221-1;
  htim7.Init.CounterMode = TIM_COUNTERMODE_UP;
  htim7.Init.Period = 65535-1;
  htim7.Init.AutoReloadPreload = TIM_AUTORELOAD_PRELOAD_DISABLE;
  if (HAL_TIM_Base_Init(&htim7) != HAL_OK)
  {
    Error_Handler();
  }
  sMasterConfig.MasterOutputTrigger = TIM_TRGO_RESET;
  sMasterConfig.MasterSlaveMode = TIM_MASTERSLAVEMODE_DISABLE;
  if (HAL_TIMEx_MasterConfigSynchronization(&htim7, &sMasterConfig) != HAL_OK)
  {
    Error_Handler();
  }

}

static void MX_USART1_UART_Init(void)
{

  huart1.Instance = USART1;
  huart1.Init.BaudRate = 115200;
  huart1.Init.WordLength = UART_WORDLENGTH_8B;
  huart1.Init.StopBits = UART_STOPBITS_1;
  huart1.Init.Parity = UART_PARITY_NONE;
  huart1.Init.Mode = UART_MODE_RX;
  huart1.Init.HwFlowCtl = UART_HWCONTROL_NONE;
  huart1.Init.OverSampling = UART_OVERSAMPLING_16;
  huart1.Init.OneBitSampling = UART_ONE_BIT_SAMPLE_DISABLE;
  huart1.AdvancedInit.AdvFeatureInit = UART_ADVFEATURE_NO_INIT;
  if (HAL_UART_Init(&huart1) != HAL_OK)
  {
    Error_Handler();
  }

}

static void MX_USART2_UART_Init(void)
{

  huart2.Instance = USART2;
  huart2.Init.BaudRate = 9600;
  huart2.Init.WordLength = UART_WORDLENGTH_8B;
  huart2.Init.StopBits = UART_STOPBITS_1;
  huart2.Init.Parity = UART_PARITY_NONE;
  huart2.Init.Mode = UART_MODE_TX;
  huart2.Init.HwFlowCtl = UART_HWCONTROL_NONE;
  huart2.Init.OverSampling = UART_OVERSAMPLING_16;
  huart2.Init.OneBitSampling = UART_ONE_BIT_SAMPLE_DISABLE;
  huart2.AdvancedInit.AdvFeatureInit = UART_ADVFEATURE_NO_INIT;
  if (HAL_UART_Init(&huart2) != HAL_OK)
  {
    Error_Handler();
  }

}

static void MX_DMA_Init(void)
{

  /* DMA controller clock enable */
  __HAL_RCC_DMA2_CLK_ENABLE();

  /* DMA interrupt init */
  /* DMA2_Channel5_IRQn interrupt configuration */
  HAL_NVIC_SetPriority(DMA2_Channel5_IRQn, 0, 0);
  HAL_NVIC_EnableIRQ(DMA2_Channel5_IRQn);

}

static void MX_GPIO_Init(void)
{
  GPIO_InitTypeDef GPIO_InitStruct = {0};

  /* GPIO Ports Clock Enable */
  __HAL_RCC_GPIOC_CLK_ENABLE();
  __HAL_RCC_GPIOF_CLK_ENABLE();
  __HAL_RCC_GPIOA_CLK_ENABLE();
  __HAL_RCC_GPIOB_CLK_ENABLE();

  /*Configure GPIO pin Output Level */
  HAL_GPIO_WritePin(GPIOA, GPIO_PIN_5, GPIO_PIN_RESET);

  /*Configure GPIO pin Output Level */
  HAL_GPIO_WritePin(GPIOC, lora_NSS_PIN_Pin|lora_Reset_PIN_Pin|GPIO_PIN_10|GPIO_PIN_11
                          |GPIO_PIN_12, GPIO_PIN_RESET);

  /*Configure GPIO pins : lora_DIO1_PIN_Pin lora_DIO2_PIN_Pin lora_DIO0_PIN_Pin */
  GPIO_InitStruct.Pin = lora_DIO1_PIN_Pin|lora_DIO2_PIN_Pin|lora_DIO0_PIN_Pin;
  GPIO_InitStruct.Mode = GPIO_MODE_IT_RISING;
  GPIO_InitStruct.Pull = GPIO_NOPULL;
  HAL_GPIO_Init(GPIOC, &GPIO_InitStruct);

  /*Configure GPIO pin : PA5 */
  GPIO_InitStruct.Pin = GPIO_PIN_5;
  GPIO_InitStruct.Mode = GPIO_MODE_OUTPUT_PP;
  GPIO_InitStruct.Pull = GPIO_NOPULL;
  GPIO_InitStruct.Speed = GPIO_SPEED_FREQ_LOW;
  HAL_GPIO_Init(GPIOA, &GPIO_InitStruct);

  /*Configure GPIO pin : PB10 */
  GPIO_InitStruct.Pin = GPIO_PIN_10;
  GPIO_InitStruct.Mode = GPIO_MODE_IT_FALLING;
  GPIO_InitStruct.Pull = GPIO_PULLUP;
  HAL_GPIO_Init(GPIOB, &GPIO_InitStruct);

  /*Configure GPIO pins : lora_NSS_PIN_Pin lora_Reset_PIN_Pin PC10 PC11
                           PC12 */
  GPIO_InitStruct.Pin = lora_NSS_PIN_Pin|lora_Reset_PIN_Pin|GPIO_PIN_10|GPIO_PIN_11
                          |GPIO_PIN_12;
  GPIO_InitStruct.Mode = GPIO_MODE_OUTPUT_PP;
  GPIO_InitStruct.Pull = GPIO_NOPULL;
  GPIO_InitStruct.Speed = GPIO_SPEED_FREQ_LOW;
  HAL_GPIO_Init(GPIOC, &GPIO_InitStruct);

  /* EXTI interrupt init*/
  HAL_NVIC_SetPriority(EXTI0_IRQn, 0, 0);
  HAL_NVIC_EnableIRQ(EXTI0_IRQn);

  HAL_NVIC_SetPriority(EXTI1_IRQn, 0, 0);
  HAL_NVIC_EnableIRQ(EXTI1_IRQn);

  HAL_NVIC_SetPriority(EXTI9_5_IRQn, 0, 0);
  HAL_NVIC_EnableIRQ(EXTI9_5_IRQn);

  HAL_NVIC_SetPriority(EXTI15_10_IRQn, 0, 2);
  HAL_NVIC_EnableIRQ(EXTI15_10_IRQn);

}

void Error_Handler(void)
{
  __disable_irq();
  while (1)
  {
  }
}
